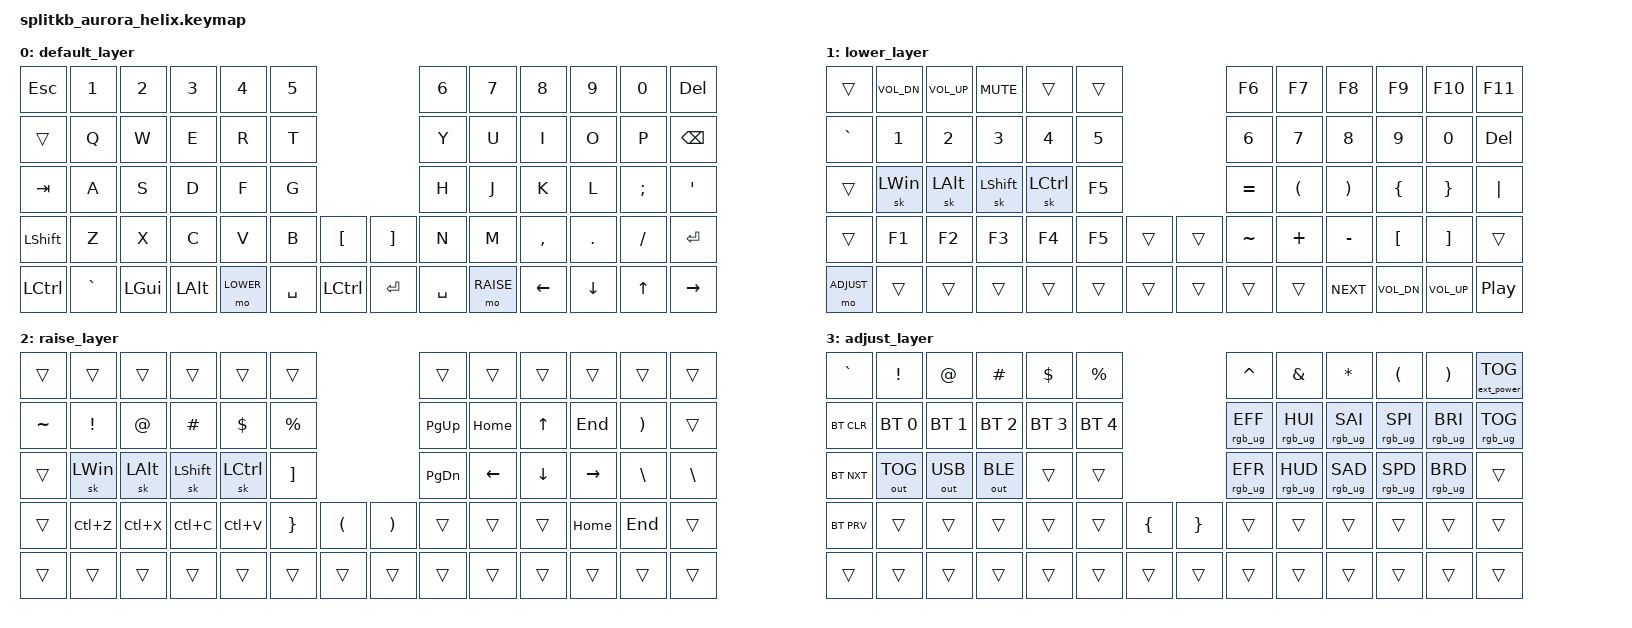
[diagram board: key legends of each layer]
/*
 * Copyright (c) 2023 The ZMK Contributors
 *
 * SPDX-License-Identifier: MIT
 */

#include <behaviors.dtsi>
#include <dt-bindings/zmk/bt.h>
#include <dt-bindings/zmk/ext_power.h>
#include <dt-bindings/zmk/keys.h>
#include <dt-bindings/zmk/outputs.h>
#include <dt-bindings/zmk/rgb.h>

#define DEFAULT 0
#define LOWER  1
#define RAISE  2
#define ADJUST 3

/* Uncomment this block if using RGB
&led_strip {
       chain-length = <6>;
       // chain-length = <38>; // Uncomment if using both per-key and underglow LEDs
       // chain-length = <32>; // Uncomment if using only per-key LEDs.
};
 */
/* NOTE: At the time of the creation of this keymap, there are no specified codes for 'eisuu' and 'kana' input in ZMK.
However, 'LANG1' and 'LANG2' are fully-functioning candidates for 'kana' and 'eisuu' input respectively.
As such, those are in use within the default layer at this time.*/

/ {
    keymap {
        compatible = "zmk,keymap";

        default_layer {
            // ---------------------------------------------------------------------------------------------------------------------------------
            // |  ESC   |   1    |   2    |   3    |   4    |   5    |                                      |   6    |   7    |   8    |   9    |   0    |  DEL   |
            // |  TAB   |   Q    |   W    |   E    |   R    |   T    |                                      |   Y    |   U    |   I    |   O    |   P    |  BSPC  |
            // |  CTRL  |   A    |   S    |   D    |   F    |   G    |                                      |   H    |   J    |   K    |   L    |   ;    |   '    |
            // |  SHIFT |   Z    |   X    |   C    |   V    |   B    |  LBKT  |                    |  RBKT  |   N    |   M    |   ,    |   .    |   /    |  RET   |
            // | CTRL   |  GRAVE |  LGU   |  ALT   |  LOWER | SPACE  |  CTRL  |                    |  RET   |  SPACE | RAISE  |  LEFT  |  DOWN  |  UP    |  RIGHT |

            bindings = <
&kp ESC    &kp N1     &kp N2    &kp N3    &kp N4     &kp N5                            &kp N6     &kp N7     &kp N8     &kp N9      &kp N0     &kp DEL
&trans     &kp Q      &kp W     &kp E     &kp R      &kp T                             &kp Y      &kp U      &kp I      &kp O       &kp P      &kp BSPC
&kp TAB    &kp A      &kp S     &kp D     &kp F      &kp G                             &kp H      &kp J      &kp K      &kp L       &kp SEMI   &kp SQT
&kp LSHFT  &kp Z      &kp X     &kp C     &kp V      &kp B      &kp LBKT     &kp RBKT  &kp N      &kp M      &kp COMMA  &kp PERIOD  &kp SLASH  &kp RET
&kp LCTRL  &kp GRAVE  &kp LGUI  &kp LALT  &mo LOWER  &kp SPACE  &kp LCTRL    &kp RET   &kp SPACE  &mo RAISE  &kp LEFT   &kp DOWN    &kp UP     &kp RIGHT
            >;
        };

        lower_layer {
            // ---------------------------------------------------------------------------------------------------------------------------------
            // |       |       |       |       |       |       |                                    |  F6   |  F7   |  F8   |  F9   |  F10  |  F11  |
            // |   `   | VOL-  | VOL+  | MUTE  |   4   |   5   |                                    |   6   |   7   |   8   |   9   |   0   |  DEL  |
            // |       |  F1   |  F2   |  F3   |  F4   |  F5   |                                    |   =   |   +   |   -   |   *   |   /   |  PIPE |
            // |       |  F7   |  F8   |  F9   |  F10  |  F11  |       |                    |       |  F12  |       | PSCRN | PG_DN | PG_UP |       |
            // | ADJUST|       |       |       |       |       |       |                    |       |       |       | NEXT  | VOL-  | VOL+  | PLAY  |

            bindings = <
&trans      &kp C_VOL_DN  &kp C_VOL_UP  &kp C_MUTE      &trans     &trans                    &kp F6     &kp F7                &kp F8                 &kp F9            &kp F10            &kp F11
&kp GRAVE   &kp N1        &kp N2        &kp N3          &kp N4     &kp N5                    &kp N6     &kp N7                &kp N8                 &kp N9            &kp N0             &kp DEL
&trans      &sk LEFT_WIN  &sk LEFT_ALT  &sk LEFT_SHIFT  &sk LCTRL  &kp F5                    &kp EQUAL  &kp LEFT_PARENTHESIS  &kp RIGHT_PARENTHESIS  &kp LEFT_BRACE    &kp RIGHT_BRACE    &kp PIPE
&trans      &kp F1        &kp F2        &kp F3          &kp F4     &kp F5  &trans    &trans  &kp TILDE  &kp PLUS              &kp MINUS              &kp LEFT_BRACKET  &kp RIGHT_BRACKET  &trans
&mo ADJUST  &trans        &trans        &trans          &trans     &trans  &trans    &trans  &trans     &trans                &kp C_NEXT             &kp C_VOL_DN      &kp C_VOL_UP       &kp C_PP
            >;
        };

        raise_layer {
            // ---------------------------------------------------------------------------------------------------------------------------------
            // |      |      |      |      |      |      |                                  |      |      |      |      |      |      |
            // |  ~   |  !   |  @   |  #   |  $   |  %   |                                  |  ^   | HOME |  UP  | END  |  (   |      |
            // |      |      |   (  |   )  |   [  |   ]  |                                  |      | LEFT | DOWN | RIGHT|  \   |  \   |
            // |      |      |      |      |   {  |   }  |  (   |                    |  )   |      |      |      | HOME | END  |      |
            // |      |      |      |      |      |      |      |                    |      |      |      |      |      |      |      |

            bindings = <
&trans     &trans        &trans        &trans          &trans     &trans                           &trans         &trans    &trans    &trans     &trans    &trans
&kp TILDE  &kp EXCL      &kp AT        &kp HASH        &kp DLLR   &kp PRCNT                        &kp PAGE_UP    &kp HOME  &kp UP    &kp END    &kp RPAR  &trans
&trans     &sk LEFT_WIN  &sk LEFT_ALT  &sk LEFT_SHIFT  &sk LCTRL  &kp RBKT                         &kp PAGE_DOWN  &kp LEFT  &kp DOWN  &kp RIGHT  &kp BSLH  &kp BSLH
&trans     &kp LC(Z)     &kp LC(X)     &kp LC(C)       &kp LC(V)  &kp RBRC   &kp LPAR    &kp RPAR  &trans         &trans    &trans    &kp HOME   &kp END   &trans
&trans     &trans        &trans        &trans          &trans     &trans     &trans      &trans    &trans         &trans    &trans    &trans     &trans    &trans
            >;
        };

        adjust_layer {
            // ---------------------------------------------------------------------------------------------------------------------------------
            // |    `     |    !     |    @     |    #     |    $     |    %     |                                          |    ^     |    &     |    *     |    (     |    )     |  EP TOG  |
            // |  BT CLR  | BT SEL0  | BT SEL1  | BT SEL2  | BGT SEL3 | BT SEL4  |                                          | RGB EFF+ | RGB HUE+ | RGB SAT+ | RGB SPD+ | RGB BRI+ | RGB TOG  |
            // |  BT NXT  | OUT TOG  | OUT USB  | OUT BLE  |          |          |                                          | RGB EFF- | RGB HUE- | RGB SAT- | RGB SPD- | RGB BRI- |          |
            // |  BT PRV  |          |          |          |          |          |    {     |                    |    }     |          |          |          |          |          |          |
            // |          |          |          |          |          |          |          |                    |          |          |          |          |          |          |          |

            bindings = <
&kp GRAVE   &kp EXCL      &kp AT        &kp HASH      &kp DLLR      &kp PRCNT                           &kp CARET        &kp AMPS         &kp ASTRK        &kp LPAR         &kp RPAR         &ext_power EP_TOG
&bt BT_CLR  &bt BT_SEL 0  &bt BT_SEL 1  &bt BT_SEL 2  &bt BT_SEL 3  &bt BT_SEL 4                        &rgb_ug RGB_EFF  &rgb_ug RGB_HUI  &rgb_ug RGB_SAI  &rgb_ug RGB_SPI  &rgb_ug RGB_BRI  &rgb_ug RGB_TOG
&bt BT_NXT  &out OUT_TOG  &out OUT_USB  &out OUT_BLE  &trans        &trans                              &rgb_ug RGB_EFR  &rgb_ug RGB_HUD  &rgb_ug RGB_SAD  &rgb_ug RGB_SPD  &rgb_ug RGB_BRD  &trans
&bt BT_PRV  &trans        &trans        &trans        &trans        &trans        &kp LBRC    &kp RBRC  &trans           &trans           &trans           &trans           &trans           &trans
&trans      &trans        &trans        &trans        &trans        &trans        &trans      &trans    &trans           &trans           &trans           &trans           &trans           &trans
            >;
        };
    };
};

/ {
    behaviors {
        bspc_del: backspace_delete {
            compatible = "zmk,behavior-mod-morph";
            #binding-cells = <0>;
            bindings = <&kp BACKSPACE>, <&kp DELETE>;

            mods = <(MOD_LSFT|MOD_RSFT)>;
            keep-mods = <(MOD_RSFT)>;
        };
    };
};

/ {
    behaviors {
        bspc_del: backspace_delete {
            compatible = "zmk,behavior-mod-morph";
            #binding-cells = <0>;
            bindings = <&kp ESC>, <&kp TILDE>;

            mods = <(MOD_LSFT|MOD_RSFT)>;
            keep-mods = <(MOD_RSFT)>;
        };
    };

    conditional_layers {
        compatible = "zmk,conditional-layers";

        adjust {
            if-layers = <1 2>;
            then-layer = <3>;
        };
    };
};
